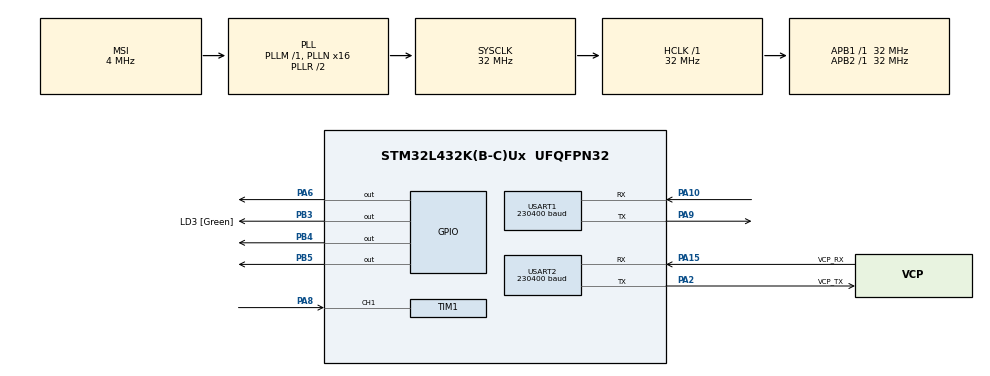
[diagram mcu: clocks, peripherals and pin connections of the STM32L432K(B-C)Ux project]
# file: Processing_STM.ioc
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Mcu.Family=STM32L4
Mcu.Name=STM32L432K(B-C)Ux
Mcu.Package=UFQFPN32
NVIC.PriorityGroup=NVIC_PRIORITYGROUP_4
NVIC.TIM1_CC_IRQn=true\:0\:0\:false\:false\:true\:true\:true\:true
NVIC.TIM1_UP_TIM16_IRQn=true\:0\:0\:false\:false\:true\:true\:true\:true
NVIC.USART1_IRQn=true\:1\:0\:true\:false\:true\:true\:true\:true
NVIC.USART2_IRQn=true\:0\:0\:true\:false\:true\:true\:true\:true
PA0.GPIO_Label=MCO [High speed clock in]
PA0.Mode=HSE-External-Clock-Source-for-LittleOrca
PA0.Signal=RCC_CK_IN
PA10.Mode=Asynchronous
PA10.Signal=USART1_RX
PA13\ (JTMS-SWDIO).GPIO_Label=SWDIO
PA13\ (JTMS-SWDIO).Mode=Serial_Wire
PA13\ (JTMS-SWDIO).Signal=SYS_JTMS-SWDIO
PA14\ (JTCK-SWCLK).GPIO_Label=SWCLK
PA14\ (JTCK-SWCLK).Mode=Serial_Wire
PA14\ (JTCK-SWCLK).Signal=SYS_JTCK-SWCLK
PA15\ (JTDI).GPIO_Label=VCP_RX
PA15\ (JTDI).Mode=Asynchronous
PA15\ (JTDI).Signal=USART2_RX
PA2.GPIO_Label=VCP_TX
PA2.Mode=Asynchronous
PA2.Signal=USART2_TX
PA6.Signal=GPIO_Output
PA8.Signal=S_TIM1_CH1
PA9.Mode=Asynchronous
PA9.Signal=USART1_TX
PB3\ (JTDO-TRACESWO).GPIO_Label=LD3 [Green]
PB3\ (JTDO-TRACESWO).Signal=GPIO_Output
PB4\ (NJTRST).Signal=GPIO_Output
PB5.Signal=GPIO_Output
PC14-OSC32_IN\ (PC14).Mode=LSE-External-Oscillator
PC14-OSC32_IN\ (PC14).Signal=RCC_OSC32_IN
PC15-OSC32_OUT\ (PC15).Mode=LSE-External-Oscillator
PC15-OSC32_OUT\ (PC15).Signal=RCC_OSC32_OUT
ProjectManager.HeapSize=0x200
ProjectManager.StackSize=0x400
ProjectManager.TargetToolchain=STM32CubeIDE
RCC.AHBFreq_Value=32000000
RCC.APB1Freq_Value=32000000
RCC.APB1TimFreq_Value=32000000
RCC.APB2Freq_Value=32000000
RCC.APB2TimFreq_Value=32000000
RCC.CortexFreq_Value=32000000
RCC.HCLKFreq_Value=32000000
RCC.HSE_VALUE=8000000
RCC.HSI16_VALUE=16000000
RCC.HSI48_VALUE=48000000
RCC.HSI_VALUE=16000000
RCC.MSI_VALUE=4000000
RCC.PLLMUL=RCC_PLLMUL_4
RCC.PLLN=16
RCC.SYSCLKFreq_VALUE=32000000
RCC.SYSCLKSource=RCC_SYSCLKSOURCE_PLLCLK
RCC.VCOOutputFreq_Value=64000000
SH.S_TIM1_CH1.0=TIM1_CH1,Input_Capture1_from_TI1
TIM1.Channel-Input_Capture1_from_TI1=TIM_CHANNEL_1
TIM1.ICPolarity_CH1=TIM_INPUTCHANNELPOLARITY_BOTHEDGE
TIM1.Prescaler=32-1
TIM16.Period=500-1
TIM16.Prescaler=32000-1
TIM6.Prescaler=32-1
USART1.BaudRate=230400
USART1.VirtualMode-Asynchronous=VM_ASYNC
USART2.BaudRate=230400
USART2.VirtualMode-Asynchronous=VM_ASYNC
VP_TIM16_VS_ClockSourceINT.Mode=Enable_Timer
VP_TIM1_VS_ClockSourceINT.Mode=Internal
VP_TIM6_VS_ClockSourceINT.Mode=Enable_Timer
board=NUCLEO-L432KC

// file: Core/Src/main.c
/* USER CODE BEGIN Header */
/**
  ******************************************************************************
  * @file           : main.c
  * @brief          : Main program body
  ******************************************************************************
  * @attention
  *
  * Copyright (c) 2025 STMicroelectronics.
  * All rights reserved.
  *
  * This software is licensed under terms that can be found in the LICENSE file
  * in the root directory of this software component.
  * If no LICENSE file comes with this software, it is provided AS-IS.
  *
  ******************************************************************************
  */
/* USER CODE END Header */
#include "main.h"
// debugged noises
// solved distance trigger
// moving average filter fixed

TIM_HandleTypeDef htim1;
TIM_HandleTypeDef htim6;
TIM_HandleTypeDef htim16;

UART_HandleTypeDef huart1;
UART_HandleTypeDef huart2;

/* USER CODE BEGIN PV */
#include <stdio.h>
#include <string.h>

volatile uint8_t recording_mode = 0; // 0 = idle, 1 = manual, 2 = distance-triggered
volatile uint8_t recording_active = 0; // Used to control distance mode logic

// Audio reading variables
uint8_t RX_Buffer[2] = {0};
uint8_t MSB_8 = 0;
uint8_t LSB_8 = 0;
uint16_t ADC_output = 0;
char string_1[40] = "\0";
#define UART1_RX_BUFFER_SIZE 2
#define MOVING_AVG_SIZE 3
uint16_t adc_buffer[MOVING_AVG_SIZE] = {0};
uint16_t adc_sum = 0;
uint8_t buffer_index = 0;
int samples_collected = 0;

// Distance reading variables
#define UART2_RX_BUFFER_SIZE 1
uint8_t UART2_RX_Buffer[UART2_RX_BUFFER_SIZE];
int flag = 0;
float distance = 0;
uint16_t count_1 = 0;
uint16_t count_2 = 0;
char string_1[40];
const float min_distance = 10; // Minimum distance of 10cm
volatile uint8_t object_detected = 0;           // 1 = recording triggered
volatile uint8_t no_object_counter = 0;         // debounce counter
const uint8_t no_object_timeout_ticks = 2;      // 2 ticks = 1000ms debounce

/* USER CODE END PV */

void SystemClock_Config(void);
static void MX_GPIO_Init(void);
static void MX_USART2_UART_Init(void);
static void MX_USART1_UART_Init(void);
static void MX_TIM1_Init(void);
static void MX_TIM6_Init(void);
static void MX_TIM16_Init(void);
/* USER CODE BEGIN PFP */
void Handle_UART_Command();
// Distance Reading
void delay_uS(uint16_t delay);
void HCSR04_Read();

/* USER CODE END PFP */

int main(void)
{

  /* MCU Configuration--------------------------------------------------------*/

  /* Reset of all peripherals, Initializes the Flash interface and the Systick. */
  HAL_Init();

  /* Configure the system clock */
  SystemClock_Config();

  /* Initialize all configured peripherals */
  MX_GPIO_Init();
  MX_USART2_UART_Init();
  MX_USART1_UART_Init();
  MX_TIM1_Init();
  MX_TIM6_Init();
  MX_TIM16_Init();
  /* USER CODE BEGIN 2 */
  // Audio Reading
  HAL_UART_Receive_IT(&huart1, RX_Buffer, UART1_RX_BUFFER_SIZE);
  HAL_UART_Receive_IT(&huart2, UART2_RX_Buffer, UART2_RX_BUFFER_SIZE);

  // Distance Reading
  HAL_TIM_Base_Start (&htim6); // Timer to count to 10 microseconds
  HAL_TIM_IC_Start_IT(&htim1, TIM_CHANNEL_1); // Timer to measure distance
  HAL_TIM_Base_Start_IT(&htim16);
  /* USER CODE END 2 */

  /* Infinite loop */
  while (1)
  {

  }
}

void SystemClock_Config(void)
{
  RCC_OscInitTypeDef RCC_OscInitStruct = {0};
  RCC_ClkInitTypeDef RCC_ClkInitStruct = {0};

  /** Configure the main internal regulator output voltage
  */
  if (HAL_PWREx_ControlVoltageScaling(PWR_REGULATOR_VOLTAGE_SCALE1) != HAL_OK)
  {
    Error_Handler();
  }

  /** Configure LSE Drive Capability
  */
  HAL_PWR_EnableBkUpAccess();
  __HAL_RCC_LSEDRIVE_CONFIG(RCC_LSEDRIVE_LOW);

  /** Initializes the RCC Oscillators according to the specified parameters
  * in the RCC_OscInitTypeDef structure.
  */
  RCC_OscInitStruct.OscillatorType = RCC_OSCILLATORTYPE_LSE|RCC_OSCILLATORTYPE_MSI;
  RCC_OscInitStruct.LSEState = RCC_LSE_ON;
  RCC_OscInitStruct.MSIState = RCC_MSI_ON;
  RCC_OscInitStruct.MSICalibrationValue = 0;
  RCC_OscInitStruct.MSIClockRange = RCC_MSIRANGE_6;
  RCC_OscInitStruct.PLL.PLLState = RCC_PLL_ON;
  RCC_OscInitStruct.PLL.PLLSource = RCC_PLLSOURCE_MSI;
  RCC_OscInitStruct.PLL.PLLM = 1;
  RCC_OscInitStruct.PLL.PLLN = 16;
  RCC_OscInitStruct.PLL.PLLP = RCC_PLLP_DIV7;
  RCC_OscInitStruct.PLL.PLLQ = RCC_PLLQ_DIV2;
  RCC_OscInitStruct.PLL.PLLR = RCC_PLLR_DIV2;
  if (HAL_RCC_OscConfig(&RCC_OscInitStruct) != HAL_OK)
  {
    Error_Handler();
  }

  /** Initializes the CPU, AHB and APB buses clocks
  */
  RCC_ClkInitStruct.ClockType = RCC_CLOCKTYPE_HCLK|RCC_CLOCKTYPE_SYSCLK
                              |RCC_CLOCKTYPE_PCLK1|RCC_CLOCKTYPE_PCLK2;
  RCC_ClkInitStruct.SYSCLKSource = RCC_SYSCLKSOURCE_PLLCLK;
  RCC_ClkInitStruct.AHBCLKDivider = RCC_SYSCLK_DIV1;
  RCC_ClkInitStruct.APB1CLKDivider = RCC_HCLK_DIV1;
  RCC_ClkInitStruct.APB2CLKDivider = RCC_HCLK_DIV1;

  if (HAL_RCC_ClockConfig(&RCC_ClkInitStruct, FLASH_LATENCY_1) != HAL_OK)
  {
    Error_Handler();
  }

  /** Enable MSI Auto calibration
  */
  HAL_RCCEx_EnableMSIPLLMode();
}

static void MX_TIM1_Init(void)
{

  TIM_ClockConfigTypeDef sClockSourceConfig = {0};
  TIM_MasterConfigTypeDef sMasterConfig = {0};
  TIM_IC_InitTypeDef sConfigIC = {0};

  htim1.Instance = TIM1;
  htim1.Init.Prescaler = 32-1;
  htim1.Init.CounterMode = TIM_COUNTERMODE_UP;
  htim1.Init.Period = 65535;
  htim1.Init.ClockDivision = TIM_CLOCKDIVISION_DIV1;
  htim1.Init.RepetitionCounter = 0;
  htim1.Init.AutoReloadPreload = TIM_AUTORELOAD_PRELOAD_DISABLE;
  if (HAL_TIM_Base_Init(&htim1) != HAL_OK)
  {
    Error_Handler();
  }
  sClockSourceConfig.ClockSource = TIM_CLOCKSOURCE_INTERNAL;
  if (HAL_TIM_ConfigClockSource(&htim1, &sClockSourceConfig) != HAL_OK)
  {
    Error_Handler();
  }
  if (HAL_TIM_IC_Init(&htim1) != HAL_OK)
  {
    Error_Handler();
  }
  sMasterConfig.MasterOutputTrigger = TIM_TRGO_RESET;
  sMasterConfig.MasterOutputTrigger2 = TIM_TRGO2_RESET;
  sMasterConfig.MasterSlaveMode = TIM_MASTERSLAVEMODE_DISABLE;
  if (HAL_TIMEx_MasterConfigSynchronization(&htim1, &sMasterConfig) != HAL_OK)
  {
    Error_Handler();
  }
  sConfigIC.ICPolarity = TIM_INPUTCHANNELPOLARITY_BOTHEDGE;
  sConfigIC.ICSelection = TIM_ICSELECTION_DIRECTTI;
  sConfigIC.ICPrescaler = TIM_ICPSC_DIV1;
  sConfigIC.ICFilter = 0;
  if (HAL_TIM_IC_ConfigChannel(&htim1, &sConfigIC, TIM_CHANNEL_1) != HAL_OK)
  {
    Error_Handler();
  }

}

static void MX_TIM6_Init(void)
{

  TIM_MasterConfigTypeDef sMasterConfig = {0};

  htim6.Instance = TIM6;
  htim6.Init.Prescaler = 32-1;
  htim6.Init.CounterMode = TIM_COUNTERMODE_UP;
  htim6.Init.Period = 65535;
  htim6.Init.AutoReloadPreload = TIM_AUTORELOAD_PRELOAD_DISABLE;
  if (HAL_TIM_Base_Init(&htim6) != HAL_OK)
  {
    Error_Handler();
  }
  sMasterConfig.MasterOutputTrigger = TIM_TRGO_RESET;
  sMasterConfig.MasterSlaveMode = TIM_MASTERSLAVEMODE_DISABLE;
  if (HAL_TIMEx_MasterConfigSynchronization(&htim6, &sMasterConfig) != HAL_OK)
  {
    Error_Handler();
  }

}

static void MX_TIM16_Init(void)
{

  htim16.Instance = TIM16;
  htim16.Init.Prescaler = 32000-1;
  htim16.Init.CounterMode = TIM_COUNTERMODE_UP;
  htim16.Init.Period = 500-1;
  htim16.Init.ClockDivision = TIM_CLOCKDIVISION_DIV1;
  htim16.Init.RepetitionCounter = 0;
  htim16.Init.AutoReloadPreload = TIM_AUTORELOAD_PRELOAD_DISABLE;
  if (HAL_TIM_Base_Init(&htim16) != HAL_OK)
  {
    Error_Handler();
  }

}

static void MX_USART1_UART_Init(void)
{

  huart1.Instance = USART1;
  huart1.Init.BaudRate = 230400;
  huart1.Init.WordLength = UART_WORDLENGTH_8B;
  huart1.Init.StopBits = UART_STOPBITS_1;
  huart1.Init.Parity = UART_PARITY_NONE;
  huart1.Init.Mode = UART_MODE_TX_RX;
  huart1.Init.HwFlowCtl = UART_HWCONTROL_NONE;
  huart1.Init.OverSampling = UART_OVERSAMPLING_16;
  huart1.Init.OneBitSampling = UART_ONE_BIT_SAMPLE_DISABLE;
  huart1.AdvancedInit.AdvFeatureInit = UART_ADVFEATURE_NO_INIT;
  if (HAL_UART_Init(&huart1) != HAL_OK)
  {
    Error_Handler();
  }

}

static void MX_USART2_UART_Init(void)
{

  huart2.Instance = USART2;
  huart2.Init.BaudRate = 230400;
  huart2.Init.WordLength = UART_WORDLENGTH_8B;
  huart2.Init.StopBits = UART_STOPBITS_1;
  huart2.Init.Parity = UART_PARITY_NONE;
  huart2.Init.Mode = UART_MODE_TX_RX;
  huart2.Init.HwFlowCtl = UART_HWCONTROL_NONE;
  huart2.Init.OverSampling = UART_OVERSAMPLING_16;
  huart2.Init.OneBitSampling = UART_ONE_BIT_SAMPLE_DISABLE;
  huart2.AdvancedInit.AdvFeatureInit = UART_ADVFEATURE_NO_INIT;
  if (HAL_UART_Init(&huart2) != HAL_OK)
  {
    Error_Handler();
  }

}

static void MX_GPIO_Init(void)
{
  GPIO_InitTypeDef GPIO_InitStruct = {0};

  /* GPIO Ports Clock Enable */
  __HAL_RCC_GPIOC_CLK_ENABLE();
  __HAL_RCC_GPIOA_CLK_ENABLE();
  __HAL_RCC_GPIOB_CLK_ENABLE();

  /*Configure GPIO pin Output Level */
  HAL_GPIO_WritePin(GPIOA, GPIO_PIN_6, GPIO_PIN_RESET);

  /*Configure GPIO pin Output Level */
  HAL_GPIO_WritePin(GPIOB, LD3_Pin|GPIO_PIN_4|GPIO_PIN_5, GPIO_PIN_RESET);

  /*Configure GPIO pin : PA6 */
  GPIO_InitStruct.Pin = GPIO_PIN_6;
  GPIO_InitStruct.Mode = GPIO_MODE_OUTPUT_PP;
  GPIO_InitStruct.Pull = GPIO_NOPULL;
  GPIO_InitStruct.Speed = GPIO_SPEED_FREQ_LOW;
  HAL_GPIO_Init(GPIOA, &GPIO_InitStruct);

  /*Configure GPIO pins : LD3_Pin PB4 PB5 */
  GPIO_InitStruct.Pin = LD3_Pin|GPIO_PIN_4|GPIO_PIN_5;
  GPIO_InitStruct.Mode = GPIO_MODE_OUTPUT_PP;
  GPIO_InitStruct.Pull = GPIO_NOPULL;
  GPIO_InitStruct.Speed = GPIO_SPEED_FREQ_LOW;
  HAL_GPIO_Init(GPIOB, &GPIO_InitStruct);

}

/* USER CODE BEGIN 4 */
// Pick Audio Recording Mode
void Handle_UART_Command()
{
    if (UART2_RX_Buffer[0] == '1')
    {
        /* Enter manual recording mode: The Processing STM transmits the data as normal.
         Go to HAL_UART_RxCpltCallback
         Duration is determined by user in Python Script*/
    	recording_mode = 1;
		recording_active = 1;
		HAL_GPIO_WritePin(GPIOB, GPIO_PIN_5, GPIO_PIN_SET); // Blue LED ON for Manual Recording Mode
		HAL_GPIO_WritePin(GPIOB, GPIO_PIN_4, GPIO_PIN_RESET);
		sprintf(string_1, "Manual Recording Mode Selected");
		HAL_UART_Transmit(&huart2, (uint8_t*)string_1, strlen(string_1),10);
    }
    else if (UART2_RX_Buffer[0] == '2')
    {
        /* Enter Distance Trigger Mode: The Processing STM transmits the data as normal but
         ends transmission when the distance is less than 10cm.*/
    	recording_mode = 2;
		recording_active = 1;
		HAL_GPIO_WritePin(GPIOB, GPIO_PIN_4, GPIO_PIN_SET); // Red LED ON for Distance Trigger Mode
		HAL_GPIO_WritePin(GPIOB, GPIO_PIN_5, GPIO_PIN_RESET);
		sprintf(string_1, "Distance Trigger Mode Selected");
		HAL_UART_Transmit(&huart2, (uint8_t*)string_1, strlen(string_1),10);
    }
    else
    {
        // Keep on reading ADC values through UART1. Go to HAL_UART_RxCpltCallback
    	recording_mode = 1;
		recording_active = 1;
		sprintf(string_1, "Else Selected");
		HAL_UART_Transmit(&huart2, (uint8_t*)string_1, strlen(string_1),10);
		HAL_GPIO_WritePin(GPIOB, GPIO_PIN_5, GPIO_PIN_RESET); // Turn OFF LEDs
		HAL_GPIO_WritePin(GPIOB, GPIO_PIN_4, GPIO_PIN_RESET);
    }
}
/*****************Audio Reading Functions*****************/
void HAL_UART_RxCpltCallback (UART_HandleTypeDef *huart)
{
	if (huart->Instance == USART1)
	{
		samples_collected += 1;
		LSB_8 = RX_Buffer[0]; // Extract least significant 8 bits of the ADC value
		MSB_8 = RX_Buffer[1]; // Extract most significant 8 bits of the ADC value

//		// Construct 16-bit unsigned ADC value
//		ADC_output = MSB_8;
//		ADC_output = ADC_output << 8;
//		ADC_output = ADC_output | LSB_8;

		ADC_output = ((RX_Buffer[1] << 8) | RX_Buffer[0]);

//		int8_t out_buf[2] = {0};
//		out_buf[0] = ADC_output & 0xFF;
//		out_buf[1] = (ADC_output >> 8) & 0xFF; // MSB

		// MOVING AVERAGE FILTER
		adc_sum -= adc_buffer[buffer_index];
		adc_buffer[buffer_index] = ADC_output;
		adc_sum += adc_buffer[buffer_index];
		buffer_index = (buffer_index + 1) % MOVING_AVG_SIZE;
		// Account for initial edge case where adc_buffer[1] to [3] is still 0
		uint8_t tx_buf[2] = {0};
		if (samples_collected >= 4)
		{
			uint16_t avg_adc_value = adc_sum/MOVING_AVG_SIZE;
			tx_buf[0] = avg_adc_value & 0xFF;        // LSB
			tx_buf[1] = (avg_adc_value >> 8) & 0xFF; // MSB
			if (recording_mode == 1) // Manual Recording Mode
			{
				// Transmit avg_adc_value over UART under interrupt mode
				HAL_UART_Transmit(&huart2, (uint8_t*)tx_buf,2,10);
			}
			else if (recording_mode == 2 && distance <= 10.0) // Distance Trigger Mode
			{
				if (recording_active == 1)
				{
					// Transmit avg_adc_value over UART under interrupt mode
					HAL_UART_Transmit(&huart2, (uint8_t*)tx_buf,2,10);
				}
				else if (recording_active == 0)
				{
					// Stop transmission
				}
			}
		}
		HAL_UART_Receive_IT(&huart1, RX_Buffer, UART1_RX_BUFFER_SIZE); // Receive through UART1 Interrupt
	}
	else if (huart->Instance == USART2)
	    {
	        Handle_UART_Command();  // Call command handler
	        HAL_UART_Receive_IT(&huart2, UART2_RX_Buffer, UART2_RX_BUFFER_SIZE); // Restart UART2 receive
	    }
}

/*****************Distance Trigger Mode Functions*****************/
void delay_uS(uint16_t delay)
{
	__HAL_TIM_SET_COUNTER(&htim6,0);
	while(__HAL_TIM_GET_COUNTER(&htim6) < delay)
	{

	}
}

void HCSR04_Read()
{
	HAL_GPIO_WritePin(GPIOA, GPIO_PIN_6, GPIO_PIN_SET);
	delay_uS(10);
	HAL_GPIO_WritePin(GPIOA, GPIO_PIN_6, GPIO_PIN_RESET);
}

void HAL_TIM_IC_CaptureCallback(TIM_HandleTypeDef *htim)
{
	if ((htim == &htim1) && (htim->Channel == 1))
	{
		if (flag == 0)
		{
			count_1 = HAL_TIM_ReadCapturedValue(&htim1, TIM_CHANNEL_1);
			flag = 1;
		}
		else
		{
			count_2 = HAL_TIM_ReadCapturedValue(&htim1, TIM_CHANNEL_1);
			__HAL_TIM_SET_COUNTER(htim,0);
			if (count_2 >= count_1)
			{
			    distance = (count_2 - count_1) / 58.0;
			}
			else
			{
			    distance = ((0xFFFF - count_1) + count_2 + 1) / 58.0;
			}

			sprintf(string_1, "distance: %f cm\n", distance);
			HAL_UART_Transmit(&huart2, (uint8_t*)string_1, strlen(string_1),10);
			flag = 0;
		}
	}
}

void HAL_TIM_PeriodElapsedCallback(TIM_HandleTypeDef *htim)
{
    if (htim == &htim16)
    {
    	if (recording_mode != 2)
    	{
    		HAL_GPIO_WritePin(GPIOB, GPIO_PIN_3, GPIO_PIN_RESET);
			return; // Only handle in distance mode
    	}

    	// Only do this if not interrupted
    	HCSR04_Read();

    	if (distance < min_distance)
    	{
    		no_object_counter = 0; // Reset debounce counter
			if (!object_detected)
			{
				object_detected = 1;
				recording_active = 1;

				// Optional: feedback via LED or UART
				HAL_GPIO_WritePin(GPIOB, GPIO_PIN_3, GPIO_PIN_SET); // LED ON
				// HAL_UART_Transmit(&huart2, (uint8_t*)"Recording started\n", 18, 10);
			}
    	}
    	else
		{
			if (object_detected)
			{
				no_object_counter++;
				if (no_object_counter >= no_object_timeout_ticks)
				{
					object_detected = 0;
					recording_active = 0;
					HAL_GPIO_WritePin(GPIOB, GPIO_PIN_3, GPIO_PIN_RESET); // LED OFF
					// HAL_UART_Transmit(&huart2, (uint8_t*)"Recording stopped\n", 18, 10);
				}
			}
		}
    }
}
/* USER CODE END 4 */

void Error_Handler(void)
{
  __disable_irq();
  while (1)
  {
  }
}
